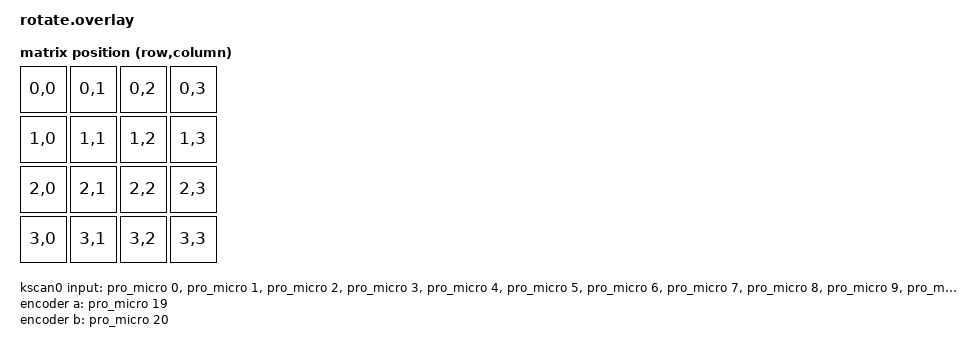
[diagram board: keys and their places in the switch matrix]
// Rotate 键盘 - 14键 + EC11编码器 + 蓝牙
// 使用 direct GPIO 接线（非正交矩阵）
// 主控: nice!nano (nRF52840)
//
// 布局:
// ┌────┬────┬────┬────┐
// │ k1 │ k2 │ k3 │ k4 │  第1行 4键
// ├────┼────┼────┼────┤
// │ k5 │ k6 │ k7 │ k8 │  第2行 4键
// ├────┼────┼────┼────┤
// │ k9 │k10 │k11 │k12 │  第3行 4键
// ├────┼────┤         │
// │k13 │k14 │ 编码器   │  第4行 2键 + 编码器
// └────┴────┴─────────┘

#include <dt-bindings/zmk/matrix_transform.h>

#include "rotate-layouts.dtsi"

/ {
    chosen {
        zmk,kscan = &kscan0;
        zmk,matrix-transform = &default_transform;
        zmk,physical-layout = &default_layout;
    };

    // Direct GPIO 按键扫描 - 每个按键独立占用一个 GPIO
    // 14个按键 + 1个编码器按键 = 15个输入
    kscan0: kscan {
        compatible = "zmk,kscan-gpio-direct";
        wakeup-source;

        input-gpios
            // 第1行 (4键)
            = <&pro_micro  0 (GPIO_ACTIVE_LOW | GPIO_PULL_UP)>  // 按键1  D0
            , <&pro_micro  1 (GPIO_ACTIVE_LOW | GPIO_PULL_UP)>  // 按键2  D1
            , <&pro_micro  2 (GPIO_ACTIVE_LOW | GPIO_PULL_UP)>  // 按键3  D2
            , <&pro_micro  3 (GPIO_ACTIVE_LOW | GPIO_PULL_UP)>  // 按键4  D3
            // 第2行 (4键)
            , <&pro_micro  4 (GPIO_ACTIVE_LOW | GPIO_PULL_UP)>  // 按键5  D4
            , <&pro_micro  5 (GPIO_ACTIVE_LOW | GPIO_PULL_UP)>  // 按键6  D5
            , <&pro_micro  6 (GPIO_ACTIVE_LOW | GPIO_PULL_UP)>  // 按键7  D6
            , <&pro_micro  7 (GPIO_ACTIVE_LOW | GPIO_PULL_UP)>  // 按键8  D7
            // 第3行 (4键)
            , <&pro_micro  8 (GPIO_ACTIVE_LOW | GPIO_PULL_UP)>  // 按键9  D8
            , <&pro_micro  9 (GPIO_ACTIVE_LOW | GPIO_PULL_UP)>  // 按键10 D9
            , <&pro_micro 10 (GPIO_ACTIVE_LOW | GPIO_PULL_UP)>  // 按键11 D10
            , <&pro_micro 16 (GPIO_ACTIVE_LOW | GPIO_PULL_UP)>  // 按键12 D16
            // 第4行 (2键)
            , <&pro_micro 14 (GPIO_ACTIVE_LOW | GPIO_PULL_UP)>  // 按键13 D14
            , <&pro_micro 15 (GPIO_ACTIVE_LOW | GPIO_PULL_UP)>  // 按键14 D15
            // 编码器按下开关（作为第15个按键，位于第4行第3列）
            , <&pro_micro 18 (GPIO_ACTIVE_LOW | GPIO_PULL_UP)>  // 编码器按键 D18
            ;
    };

    // Matrix Transform - 将15个输入映射为 4列 x 4行 的逻辑布局
    // 第4行只有3个位置（2键 + 编码器按键）
    default_transform: default_transform {
        compatible = "zmk,matrix-transform";
        columns = <4>;
        rows = <4>;

        map = <
            RC(0,0) RC(0,1) RC(0,2) RC(0,3)
            RC(1,0) RC(1,1) RC(1,2) RC(1,3)
            RC(2,0) RC(2,1) RC(2,2) RC(2,3)
            RC(3,0) RC(3,1) RC(3,2) RC(3,3)
        >;
    };

    // EC11 编码器
    encoder: encoder {
        compatible = "alps,ec11";
        a-gpios = <&pro_micro 19 (GPIO_ACTIVE_HIGH | GPIO_PULL_UP)>;  // D19/A1
        b-gpios = <&pro_micro 20 (GPIO_ACTIVE_HIGH | GPIO_PULL_UP)>;  // D20/A2
        steps = <80>;
        status = "okay";
    };

    sensors: sensors {
        compatible = "zmk,keymap-sensors";
        sensors = <&encoder>;
        triggers-per-rotation = <20>;
    };
};
